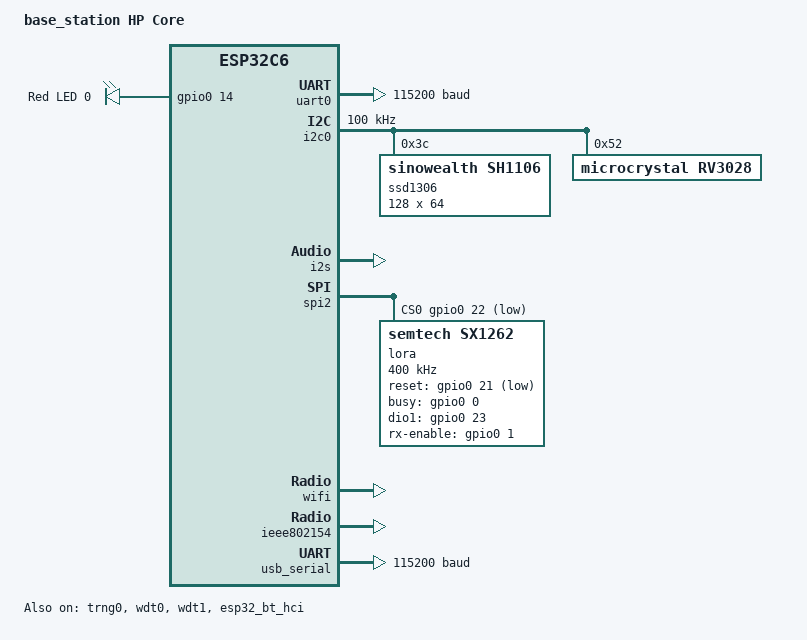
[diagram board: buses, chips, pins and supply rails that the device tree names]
/*
 * Copyright (c) 2023 Espressif Systems (Shanghai) Co., Ltd.
 *
 * SPDX-License-Identifier: Apache-2.0
 */

/dts-v1/;

#include <zephyr/dt-bindings/led/led.h>

#include <espressif/esp32c6/esp32c6_wroom_n4.dtsi>
#include "base_station_hpcore-pinctrl.dtsi"
#include <zephyr/dt-bindings/input/input-event-codes.h>
#include <espressif/partitions_0x0_default_4M.dtsi>


/ {
	model = "base_station HP Core";
	compatible = "espressif,esp32c6";

	chosen {
		zephyr,sram = &sramhp;
		zephyr,console = &usb_serial;
		zephyr,shell-uart = &usb_serial;
		zephyr,flash = &flash0;
		zephyr,code-partition = &slot0_partition;
		zephyr,ieee802154 = &ieee802154;
		zephyr,display = &ssd1306;
	};

	aliases {
		watchdog0 = &wdt0;
	};

	gpio_keys {
		compatible = "gpio-keys";
	};

	leds {
		compatible = "gpio-leds";

		led0: led_0 {
			gpios = <&gpio0 14 GPIO_ACTIVE_HIGH>;
			label = "Red LED 0";
		};
	};
};

&uart0 {
	status = "okay";
	current-speed = <115200>;
	pinctrl-0 = <&uart0_default>;
	pinctrl-names = "default";
};

&trng0 {
	status = "okay";
};

&i2c0 {
	status = "okay";
	clock-frequency = <I2C_BITRATE_STANDARD>;
	pinctrl-0 = <&i2c0_default>;
	pinctrl-names = "default";

	ssd1306: oled@3c {
		compatible = "sinowealth,sh1106";
		reg = <0x3c>;
		width = <128>;
		height = <64>;
		segment-offset = <0>;
		page-offset = <0>;
		display-offset = <0>;
		multiplex-ratio = <63>;
		segment-remap;
		com-invdir;
		prechargep = <0x22>;
    };

 	rv3028: rv3028@52 {
		status = "okay";
        compatible = "microcrystal,rv3028";
        reg = <0x52>;        
		backup-switch-mode = "level";
		trickle-resistor-ohms = <15000>;		
    };


};

&i2s {
	status = "okay";
	pinctrl-0 = <&i2s_default>;
	pinctrl-names = "default";
};

&spi2 {
	#address-cells = <1>;
	#size-cells = <0>;
	status = "okay";
	pinctrl-0 = <&spim2_default>;
	pinctrl-names = "default";

	cs-gpios = <&gpio0 22 GPIO_ACTIVE_LOW>;

	lora: sx1262@0 {
        compatible = "semtech,sx1262";
        reg = <0>;
        status = "okay";
        spi-max-frequency = <400000>;

        reset-gpios = <&gpio0 21 GPIO_ACTIVE_LOW>;
        busy-gpios  = <&gpio0 0 GPIO_ACTIVE_HIGH>;
        dio1-gpios  = <&gpio0 23 GPIO_ACTIVE_HIGH>;
        rx-enable-gpios = <&gpio0 1 GPIO_ACTIVE_HIGH>;
        dio2-tx-enable;

        /*
            Acceptable TXCO voltage constants:
            #define SX126X_DIO3_TCXO_1V6	0x00
            #define SX126X_DIO3_TCXO_1V7	0x01
            #define SX126X_DIO3_TCXO_1V8	0x02
            #define SX126X_DIO3_TCXO_2V2	0x03
            #define SX126X_DIO3_TCXO_2V4	0x04
            #define SX126X_DIO3_TCXO_2V7	0x05
            #define SX126X_DIO3_TCXO_3V0	0x06
            #define SX126X_DIO3_TCXO_3V3	0x07
         */
        dio3-tcxo-voltage = <2>; 
        tcxo-power-startup-delay-ms = <500>;
    };
};

&gpio0 {
	status = "okay";
};

&wdt0 {
	status = "okay";
};

&wdt1 {
	status = "okay";
};

&wifi {
	status = "okay";
};

&ieee802154 {
	status = "okay";
};

&esp32_bt_hci {
	status = "okay";
};

&dma {
    status = "okay";
};


&usb_serial {
    status = "okay";
	current-speed = <115200>;
};
